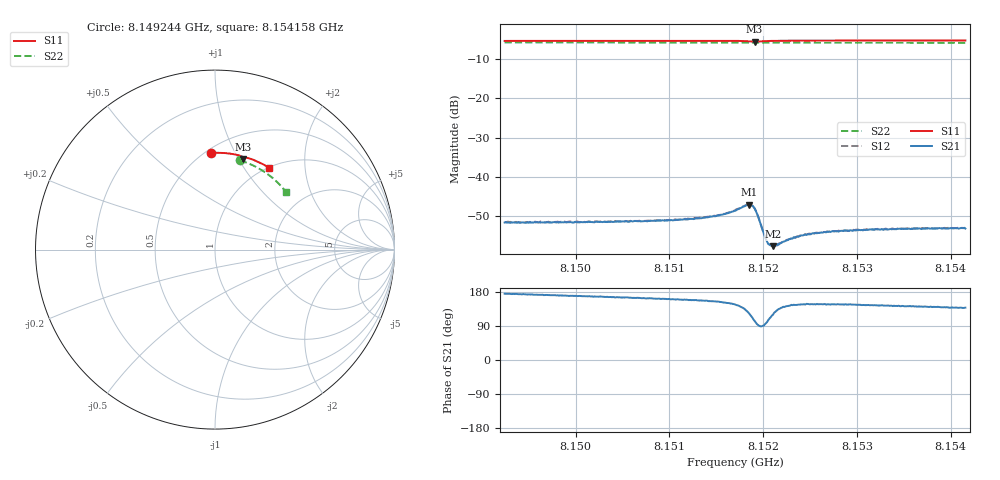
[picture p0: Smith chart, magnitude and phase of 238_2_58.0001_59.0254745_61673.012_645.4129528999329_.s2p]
#  HZ  S  RI  R  50.00
! Rohde & Schwarz Vector Network Analyzer
! Rohde-Schwarz,ZNB20-2Port,1311601062101988,3.16
! Created: UTC 3/21/2024, 1:00:57 AM
! freq[Hz]  re:S11  im:S11  re:S21  im:S21  re:S12  im:S12  re:S22  im:S22
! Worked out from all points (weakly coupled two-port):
!   401 points, 8.149244 GHz to 8.154158 GHz, reference 50 ohm
!   highest |S21| = -47.06 dB at 8.151848 GHz (marker M1); lowest = -57.6 dB at 8.152106 GHz (marker M2)
!   lowest |S11| = -5.5 dB at 8.15191 GHz (marker M3), VSWR 3.24, Z = 37.3 + j52.2 ohm
!   |S11| at or under -10 dB: nowhere
!   |S22| runs from -5.9 to -5.7 dB; largest |S21 - S12| = 0.00013
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8.1492439e9  -0.0228 0.5383  -0.00262 0.00024  -0.00263 0.000286  0.1388 0.4968
8.1500671e9  0.0347 0.5391  -0.00261 0.00053  -0.00265 0.00058  0.189 0.479
8.1508902e9  0.0923 0.5334  -0.00264 0.000852  -0.00266 0.000891  0.2372 0.4561
8.1513448e9  0.1243 0.5272  -0.00275 0.00117  -0.00279 0.00123  0.2624 0.4413
8.1515168e9  0.1369 0.5241  -0.00291 0.0014  -0.0029 0.00148  0.2718 0.4354
8.151701e9  0.1509 0.5184  -0.0031 0.00205  -0.00311 0.00213  0.2817 0.4288
8.1518116e9  0.1585 0.5113  -0.00291 0.00316  -0.00289 0.00325  0.2875 0.4245
8.1518485e9  0.1594 0.5079  -0.00247 0.00369  -0.00243 0.00377  0.2892 0.423
8.1518853e9  0.1579 0.5049  -0.00161 0.00399  -0.00152 0.00408  0.2909 0.4216
8.1519099e9  0.1561 0.5044  -0.000907 0.00387  -0.000831 0.00391  0.2921 0.4208
8.1519468e9  0.1544 0.5064  -0.000128 0.00316  -8.74e-05 0.00317  0.294 0.4195
8.1520082e9  0.1569 0.5112  -2.43e-05 0.00191  -3.41e-05 0.00189  0.297 0.4173
8.1520328e9  0.1589 0.5123  -0.000206 0.00159  -0.00014 0.00158  0.2983 0.4164
8.1520696e9  0.1623 0.5133  -0.000466 0.0013  -0.000452 0.00131  0.3004 0.4152
8.1521065e9  0.1657 0.5135  -0.000651 0.00115  -0.00067 0.00114  0.3023 0.4137
8.152131e9  0.1678 0.5135  -0.000804 0.00106  -0.000805 0.0011  0.3035 0.4128
8.152303e9  0.1816 0.5111  -0.00137 0.000933  -0.00132 0.000996  0.3123 0.4059
8.1524259e9  0.1906 0.5085  -0.00151 0.000989  -0.00151 0.00104  0.3184 0.4011
8.1525242e9  0.1974 0.5063  -0.00161 0.00104  -0.00159 0.00106  0.3233 0.3971
8.1527576e9  0.2132 0.5004  -0.0017 0.00111  -0.00169 0.00114  0.3345 0.3872
8.1533473e9  0.2512 0.4837  -0.00173 0.0013  -0.00174 0.00133  0.3615 0.3609
8.1541582e9  0.3001 0.4563  -0.00164 0.00147  -0.00164 0.00156  0.3951 0.3221
